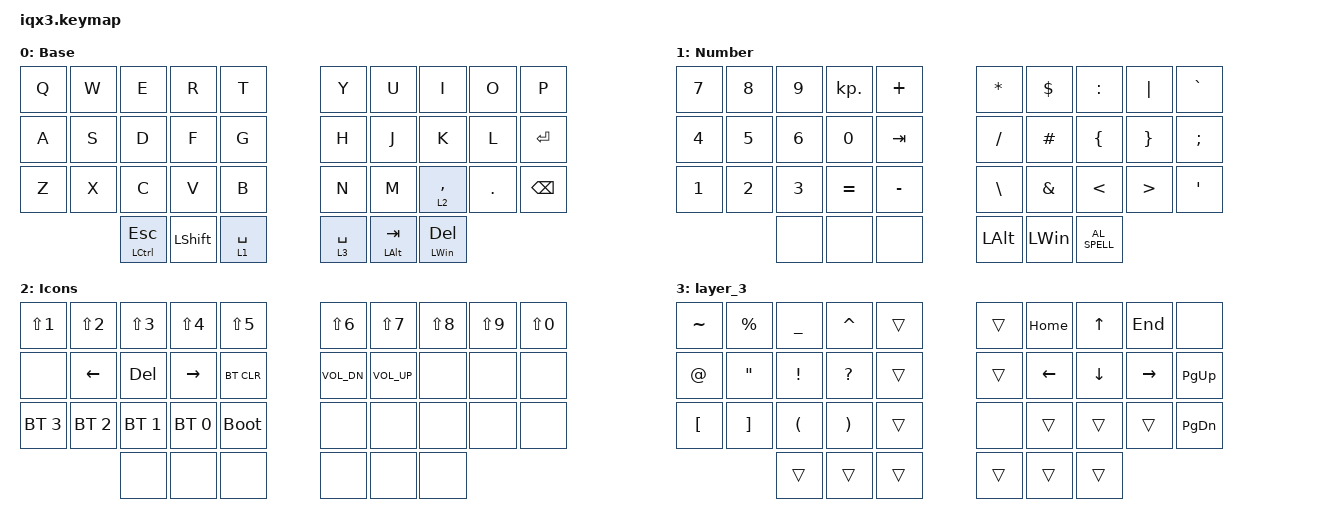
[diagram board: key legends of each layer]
/*
 * Copyright (c) 2020 The ZMK Contributors
 *
 * SPDX-License-Identifier: MIT
 */

#include <behaviors.dtsi>
#include <dt-bindings/zmk/bt.h>
#include <dt-bindings/zmk/keys.h>

/ {
    behaviors {
        tab_esc_ctrl: tab_esc_ctrl {
            compatible = "zmk,behavior-tap-dance";
            label = "TAB_ESC_CTRL";
            #binding-cells = <0>;
            bindings = <&mt LCTRL ESC>, <&kp TAB>;
        };

        gqt: global-quick-tap {
            compatible = "zmk,behavior-hold-tap";
            label = "GLOBAL_QUICK_TAP";
            bindings = <&kp>, <&kp>;

            #binding-cells = <2>;
            quick-tap-ms = <180>;
            tapping-term-ms = <200>;
            global-quick-tap;
            flavor = "tap-preferred";
        };

        ltq: ltq {
            compatible = "zmk,behavior-hold-tap";
            label = "LTQ";
            bindings = <&mo>, <&kp>;

            #binding-cells = <2>;
            global-quick-tap;
            tapping-term-ms = <200>;
            quick-tap-ms = <180>;
            flavor = "tap-preferred";
        };
    };

    combos {
        compatible = "zmk,combos";

        left_bkt {
            bindings = <&kp ESC>;
            key-positions = <0 1>;
            timeout-ms = <50>;
        };

        right_bkt {
            bindings = <&kp BACKSPACE>;
            key-positions = <8 9>;
            timeout-ms = <50>;
        };

        left_par {
            bindings = <&kp ENTER>;
            key-positions = <18 19>;
            timeout-ms = <50>;
        };

        caps {
            bindings = <&kp CAPSLOCK>;
            key-positions = <11 10>;
        };

        tab {
            bindings = <&kp TAB>;
            key-positions = <21 20>;
        };
    };

    macros {
        KEY: new_macro {
            compatible = "zmk,behavior-macro";
            #binding-cells = <0>;
            bindings = <&kp LS(C) &kp H &kp L &kp DOT &kp N8 &kp N8 &kp N0 &kp N6 &kp N0 &kp N2 &kp EXCL &kp AT &kp POUND &kp DLLR &kp PRCNT &kp CARET &kp ENTER>;
            label = "NEW_MACRO";
        };
    };

    keymap {
        compatible = "zmk,keymap";

        Base {
            label = "Base";
            bindings = <
  &kp Q  &kp W  &kp E             &kp R           &kp T        &kp Y        &kp U             &kp I            &kp O    &kp P
  &kp A  &kp S  &kp D             &kp F           &kp G        &kp H        &kp J             &kp K            &kp L    &kp ENTER
  &kp Z  &kp X  &kp C             &kp V           &kp B        &kp N        &kp M             &lt 2 COMMA      &kp DOT  &kp BACKSPACE
                &mt LCTRL ESCAPE  &kp LEFT_SHIFT  &lt 1 SPACE  &lt 3 SPACE  &mt LEFT_ALT TAB  &mt LWIN DELETE
            >;
        };

        Number {
            label = "Number";
            bindings = <
  &kp N7  &kp N8  &kp N9  &kp KP_DOT  &kp PLUS   &kp ASTERISK   &kp DLLR       &kp COLON       &kp PIPE          &kp GRAVE
  &kp N4  &kp N5  &kp N6  &kp N0      &kp TAB    &kp SLASH      &kp POUND      &kp LEFT_BRACE  &kp RIGHT_BRACE   &kp SEMICOLON
  &kp N1  &kp N2  &kp N3  &kp EQUAL   &kp MINUS  &kp BACKSLASH  &kp AMPERSAND  &kp LESS_THAN   &kp GREATER_THAN  &kp SINGLE_QUOTE
                  &none   &none       &none      &kp LALT       &kp LEFT_WIN   &kp C_AL_SPELL
            >;
        };

        Icons {
            label = "Icons";
            bindings = <
  &kp LS(N1)    &kp LS(N2)    &kp LS(N3)    &kp LS(N4)    &kp LS(N5)   &kp LS(N6)    &kp LS(N7)    &kp LS(N8)  &kp LS(N9)  &kp LS(N0)
  &none         &kp LEFT      &kp DEL       &kp RIGHT     &bt BT_CLR   &kp C_VOL_DN  &kp C_VOL_UP  &none       &none       &none
  &bt BT_SEL 3  &bt BT_SEL 2  &bt BT_SEL 1  &bt BT_SEL 0  &bootloader  &none         &none         &none       &none       &none
                              &none         &none         &none        &none         &none         &none
            >;
        };

        layer_3 {
            bindings = <
  &kp TILDE         &kp PERCENT        &kp UNDERSCORE        &kp CARET              &trans  &trans  &kp HOME  &kp UP_ARROW  &kp END          &none
  &kp AT_SIGN       &kp DOUBLE_QUOTES  &kp EXCLAMATION       &kp QUESTION           &trans  &trans  &kp LEFT  &kp DOWN      &kp RIGHT_ARROW  &kp PG_UP
  &kp LEFT_BRACKET  &kp RIGHT_BRACKET  &kp LEFT_PARENTHESIS  &kp RIGHT_PARENTHESIS  &trans  &none   &trans    &trans        &trans           &kp PAGE_DOWN
                                       &trans                &trans                 &trans  &trans  &trans    &trans
            >;
        };
    };
};
